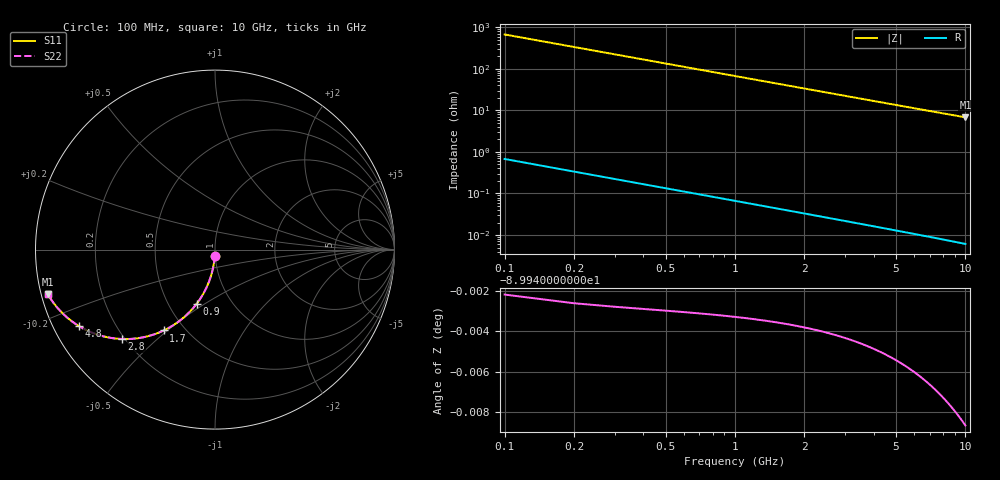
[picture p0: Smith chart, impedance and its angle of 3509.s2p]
# Hz S RI R 50.00
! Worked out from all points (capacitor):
!   100 points, 100 MHz to 10 GHz, reference 50 ohm
!   read as one part in shunt: C = 2.37 pF near 100 MHz
!   lowest |Z| = 6.82 ohm at 10 GHz (marker M1)
!   S11 on the Smith chart (normalised r, x): 100 MHz: 0.99, -0.07; 900 MHz: 0.69, -0.46; 1.7 GHz: 0.39, -0.49; 2.8 GHz: 0.19, -0.39; 4.8 GHz: 0.07, -0.26; 10 GHz: 0.02, -0.13
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1e8  -0.00139 -0.0371  0.9986 -0.0372  0.9986 -0.0372  -0.00139 -0.0371
2e8  -0.00554 -0.0739  0.9944 -0.074  0.9944 -0.074  -0.00554 -0.0739
3e8  -0.0124 -0.11  0.9876 -0.1102  0.9876 -0.1102  -0.0124 -0.11
4e8  -0.0217 -0.1453  0.9782 -0.1456  0.9782 -0.1456  -0.0217 -0.1453
5e8  -0.0335 -0.1794  0.9664 -0.1798  0.9664 -0.1798  -0.0335 -0.1794
6e8  -0.0475 -0.2122  0.9524 -0.2126  0.9524 -0.2126  -0.0475 -0.2122
7e8  -0.0636 -0.2433  0.9363 -0.2438  0.9363 -0.2438  -0.0636 -0.2433
9e8  -0.1009 -0.3004  0.8991 -0.301  0.8991 -0.301  -0.1009 -0.3004
1.1e9  -0.1434 -0.3497  0.8565 -0.3505  0.8565 -0.3505  -0.1434 -0.3497
1.3e9  -0.1895 -0.3909  0.8105 -0.3919  0.8105 -0.3919  -0.1895 -0.3909
1.7e9  -0.2854 -0.4505  0.7145 -0.4518  0.7145 -0.4518  -0.2854 -0.4505
1.8e9  -0.3093 -0.4611  0.6906 -0.4624  0.6906 -0.4624  -0.3093 -0.4611
2.3e9  -0.4222 -0.4926  0.5778 -0.4942  0.5778 -0.4942  -0.4222 -0.4926
2.8e9  -0.5197 -0.4981  0.4802 -0.5001  0.4802 -0.5001  -0.5197 -0.4981
3.4e9  -0.6146 -0.4849  0.3854 -0.4874  0.3854 -0.4874  -0.6146 -0.4849
4.1e9  -0.6985 -0.4569  0.3014 -0.4599  0.3014 -0.4599  -0.6985 -0.4569
4.8e9  -0.7604 -0.4245  0.2395 -0.428  0.2395 -0.428  -0.7604 -0.4245
5.1e9  -0.7818 -0.4107  0.2182 -0.4144  0.2182 -0.4144  -0.7818 -0.4107
5.8e9  -0.8224 -0.3795  0.1775 -0.3837  0.1775 -0.3837  -0.8224 -0.3795
6.7e9  -0.8606 -0.3433  0.1393 -0.3482  0.1393 -0.3482  -0.8606 -0.3433
8.4e9  -0.9065 -0.2874  0.0934 -0.2936  0.0934 -0.2936  -0.9065 -0.2874
1e10  -0.9322 -0.2471  0.0677 -0.2545  0.0677 -0.2545  -0.9322 -0.2471
